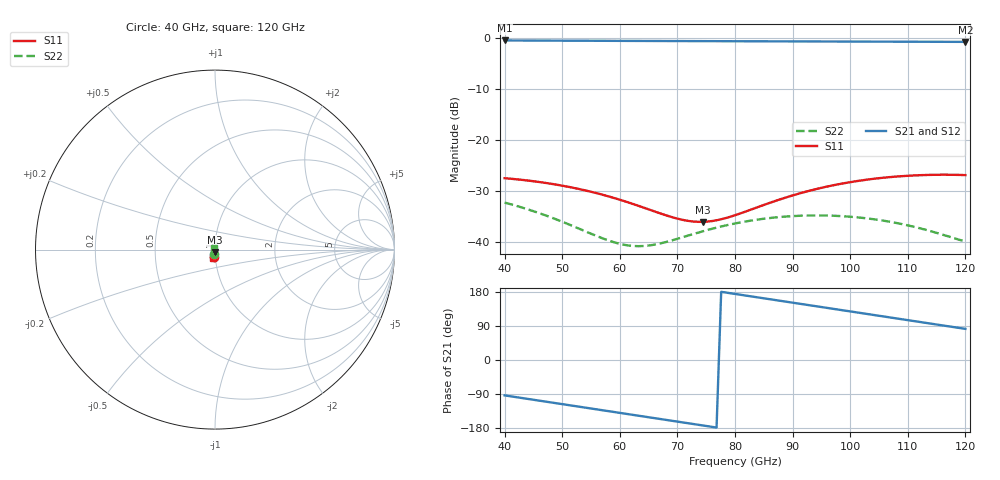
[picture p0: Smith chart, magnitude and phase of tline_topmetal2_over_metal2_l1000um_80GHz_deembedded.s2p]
! Created with skrf 2.0.1 (http://scikit-rf.org).
# GHz S DB R 50.0
!freq dBS11 angS11 dBS21 angS21 dBS12 angS12 dBS22 angS22
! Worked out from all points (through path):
!   101 points, 40 GHz to 120 GHz, reference 50 ohm
!   highest |S21| = -0.50 dB at 40 GHz (marker M1); lowest = -0.8 dB at 120 GHz (marker M2)
!   group delay of S21, straight-line fit = 6.41 ps
!   lowest |S11| = -36.0 dB at 74.4 GHz (marker M3), VSWR 1.03, Z = 49.7 - j1.55 ohm
!   |S11| at or under -10 dB: start of sweep to end of sweep
!   |S22| runs from -40.8 to -32.3 dB; largest |S21 - S12| = 1.1e-14
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40  -27.48 -95.3  -0.50 -93.4  -0.50 -93.4  -32.26 -98.5
43.2  -27.83 -101.9  -0.51 -100.8  -0.51 -100.8  -33.29 -105.3
46.4  -28.29 -108.0  -0.53 -108.1  -0.53 -108.1  -34.48 -111.0
49.6  -28.86 -113.4  -0.54 -115.5  -0.54 -115.5  -35.83 -115.2
53.6  -29.77 -119.2  -0.56 -124.8  -0.56 -124.8  -37.69 -117.3
57.6  -30.90 -123.3  -0.57 -134.0  -0.57 -134.0  -39.51 -114.2
60.8  -31.98 -124.8  -0.58 -141.4  -0.58 -141.4  -40.53 -107.4
64  -33.19 -124.2  -0.60 -148.8  -0.60 -148.8  -40.77 -98.7
67.2  -34.44 -120.6  -0.61 -156.1  -0.61 -156.1  -40.21 -91.8
71.2  -35.71 -110.6  -0.62 -165.4  -0.62 -165.4  -38.95 -88.5
74.4  -36.03 -99.2  -0.63 -172.7  -0.63 -172.7  -37.89 -89.8
76.8  -35.72 -90.5  -0.64 -178.3  -0.64 -178.3  -37.17 -92.5
80  -34.74 -81.4  -0.65 174.3  -0.65 174.3  -36.35 -97.8
83.2  -33.46 -75.9  -0.66 167.0  -0.66 167.0  -35.71 -104.4
86.4  -32.17 -73.6  -0.67 159.6  -0.67 159.6  -35.24 -111.9
89.6  -31.00 -73.5  -0.68 152.2  -0.68 152.2  -34.94 -120.3
93.6  -29.75 -75.4  -0.70 143.0  -0.70 143.0  -34.78 -131.7
100.8  -28.11 -81.8  -0.72 126.4  -0.72 126.4  -35.10 -154.5
107.2  -27.24 -88.9  -0.74 111.6  -0.74 111.6  -36.08 -177.8
113.6  -26.84 -96.2  -0.76 96.9  -0.76 96.9  -37.74 154.1
116.8  -26.80 -99.6  -0.77 89.5  -0.77 89.5  -38.80 137.1
120  -26.87 -102.8  -0.78 82.1  -0.78 82.1  -39.90 116.9
